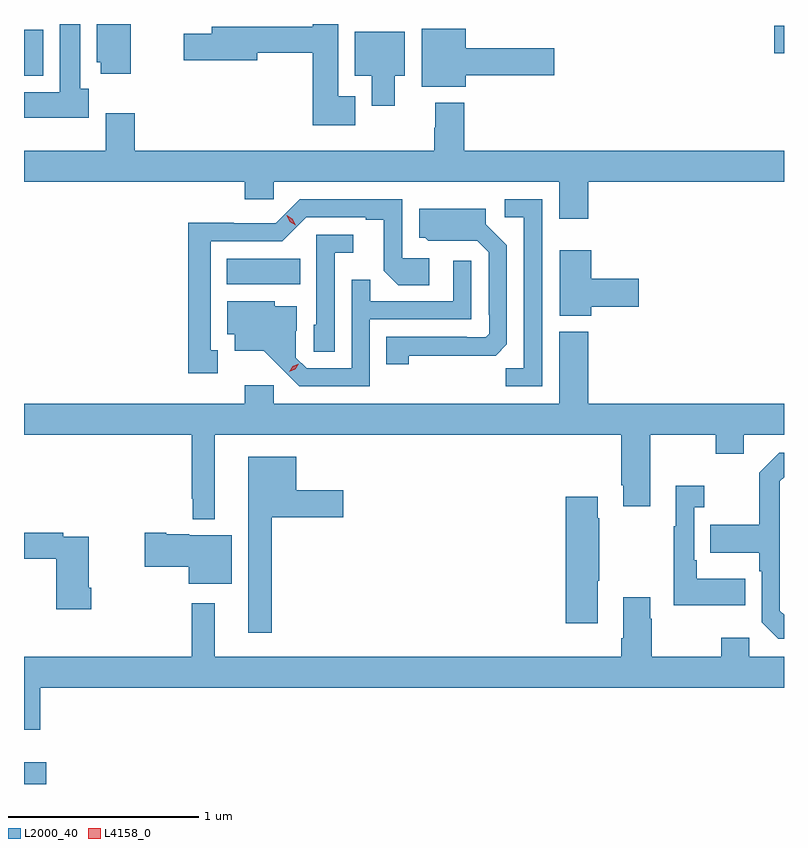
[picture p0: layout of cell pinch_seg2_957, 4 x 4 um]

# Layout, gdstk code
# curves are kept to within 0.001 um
import gdstk
lib = gdstk.Library(unit=1e-6, precision=1e-09)
def R(c, l, rs):  # rectangles x0, y0, x1, y1
    for r in rs: c.add(gdstk.rectangle(r[:2], r[2:], *l))
def P(c, l, *ps):  # polygons
    for p in ps: c.add(gdstk.Polygon(p, *l))
L2000_40 = (2000, 40)
L4158_0 = (4158, 0)

pinch_seg2_957 = lib.new_cell('pinch_seg2_957')
R(pinch_seg2_957, L2000_40, [(346.314,624.486,346.432,624.601), (347.381,627.116,347.768,627.25), (346.314,628.214,346.414,628.456), (350.262,628.331,350.314,628.478)])
P(pinch_seg2_957, L2000_40, [(348.058,628.105),(347.968,628.105),(347.968,628.486),(347.834,628.486),(347.834,628.472),(347.303,628.472),(347.303,628.436),(347.154,628.436),(347.154,628.294),(347.542,628.294),(347.542,628.336),(347.834,628.336),(347.834,627.953),(348.058,627.953)],
  [(346.654,628.146),(346.609,628.146),(346.609,628.486),(346.502,628.486),(346.502,628.126),(346.314,628.126),(346.314,627.992),(346.654,627.992)],
  [(346.876,628.486),(346.697,628.486),(346.697,628.284),(346.718,628.284),(346.718,628.224),(346.876,628.224)],
  [(348.64,628.216),(349.105,628.216),(349.105,628.358),(348.64,628.358),(348.64,628.462),(348.407,628.462),(348.407,628.157),(348.64,628.157)],
  [(348.265,628.214),(348.319,628.214),(348.319,628.444),(348.056,628.444),(348.056,628.214),(348.143,628.214),(348.143,628.056),(348.265,628.056)],
  [(349.283,627.656),(350.314,627.656),(350.314,627.82),(348.632,627.82),(348.632,628.072),(348.479,628.072),(348.479,627.941),(348.472,627.941),(348.472,627.82),(346.898,627.82),(346.898,628.015),(346.745,628.015),(346.745,627.82),(346.314,627.82),(346.314,627.656),(347.477,627.656),(347.477,627.563),(347.628,627.563),(347.628,627.656),(349.13,627.656),(349.13,627.462),(349.283,627.462)],
  [(347.335,626.769),(347.296,626.769),(347.296,627.342),(347.673,627.342),(347.799,627.468),(348.113,627.468),(348.113,627.456),(348.207,627.456),(348.207,627.188),(348.283,627.112),(348.448,627.112),(348.448,627.252),(348.306,627.252),(348.306,627.564),(347.766,627.564),(347.64,627.438),(347.418,627.438),(347.418,627.44),(347.178,627.44),(347.178,626.649),(347.335,626.649)],
  [(349.041,627.564),(348.843,627.564),(348.843,627.468),(348.945,627.468),(348.945,626.675),(348.85,626.675),(348.85,626.58),(349.041,626.58)],
  [(348.339,626.74),(348.796,626.741),(348.855,626.8),(348.855,627.322),(348.745,627.432),(348.745,627.514),(348.395,627.514),(348.395,627.36),(348.426,627.36),(348.442,627.344),(348.699,627.345),(348.759,627.285),(348.759,626.956),(348.762,626.956),(348.762,626.856),(348.744,626.838),(348.644,626.838),(348.644,626.841),(348.22,626.841),(348.22,626.694),(348.339,626.694)],
  [(347.949,627.281),(348.046,627.281),(348.046,627.378),(347.853,627.378),(347.853,626.904),(347.838,626.904),(347.838,626.761),(347.949,626.761)],
  [(349.3,626.999),(349.549,626.999),(349.549,627.146),(349.3,627.146),(349.3,627.295),(349.133,627.295),(349.133,626.951),(349.3,626.951)],
  [(348.135,626.931),(348.669,626.931),(348.669,627.241),(348.573,627.241),(348.573,627.027),(348.137,627.027),(348.137,627.14),(348.039,627.14),(348.039,626.673),(347.802,626.673),(347.745,626.73),(347.745,626.872),(347.749,626.872),(347.749,627.001),(347.634,627.001),(347.634,627.028),(347.384,627.028),(347.384,626.852),(347.423,626.852),(347.423,626.765),(347.575,626.765),(347.762,626.58),(348.135,626.58)],
  [(346.314,626.324),(347.196,626.324),(347.196,625.987),(347.203,625.987),(347.203,625.88),(347.317,625.88),(347.317,626.324),(349.457,626.324),(349.457,626.059),(349.469,626.059),(349.469,625.947),(349.609,625.947),(349.609,626.324),(349.954,626.324),(349.954,626.225),(350.101,626.225),(350.101,626.324),(350.314,626.324),(350.314,626.488),(349.283,626.488),(349.283,626.866),(349.13,626.866),(349.13,626.488),(347.628,626.488),(347.628,626.584),(347.477,626.584),(347.477,626.488),(346.314,626.488)],
  [(350.314,625.376),(350.292,625.398),(350.292,626.079),(350.314,626.101),(350.314,626.229),(350.289,626.229),(350.184,626.123),(350.184,625.851),(349.927,625.851),(349.927,625.703),(350.184,625.703),(350.184,625.607),(350.196,625.607),(350.196,625.338),(350.283,625.251),(350.314,625.251)],
  [(347.617,625.889),(347.995,625.889),(347.995,626.031),(347.746,626.031),(347.746,626.209),(347.495,626.209),(347.495,625.281),(347.617,625.281)],
  [(350.111,625.567),(349.855,625.567),(349.855,625.663),(349.842,625.663),(349.842,625.943),(349.894,625.943),(349.894,626.056),(349.745,626.056),(349.745,625.843),(349.734,625.843),(349.734,625.427),(350.111,625.427)],
  [(349.333,625.555),(349.341,625.555),(349.341,625.886),(349.333,625.886),(349.333,625.999),(349.166,625.999),(349.166,625.332),(349.333,625.332)],
  [(346.667,625.519),(346.654,625.519),(346.654,625.788),(346.52,625.788),(346.52,625.808),(346.314,625.808),(346.314,625.672),(346.484,625.672),(346.484,625.407),(346.667,625.407)],
  [(347.407,625.795),(347.184,625.795),(347.184,625.801),(347.062,625.801),(347.062,625.808),(346.95,625.808),(346.95,625.63),(347.18,625.63),(347.18,625.541),(347.407,625.541)],
  [(350.314,625.156),(350.13,625.156),(350.13,625.255),(349.984,625.255),(349.984,625.156),(349.617,625.156),(349.617,625.355),(349.609,625.355),(349.609,625.468),(349.469,625.468),(349.469,625.252),(349.457,625.252),(349.457,625.156),(347.317,625.156),(347.317,625.438),(347.196,625.438),(347.196,625.156),(346.314,625.156),(346.314,624.771),(346.399,624.771),(346.399,624.992),(350.314,624.992)])
P(pinch_seg2_957, L4158_0, [(347.711,626.655),(347.711,626.655),(347.728,626.684),(347.759,626.699),(347.76,626.699),(347.76,626.699),(347.742,626.67),(347.711,626.655)],
  [(347.744,627.427),(347.713,627.446),(347.696,627.478),(347.696,627.479),(347.696,627.479),(347.727,627.46),(347.744,627.427),(347.744,627.427)])

lib.write_gds('pinch_seg2_957.gds')
